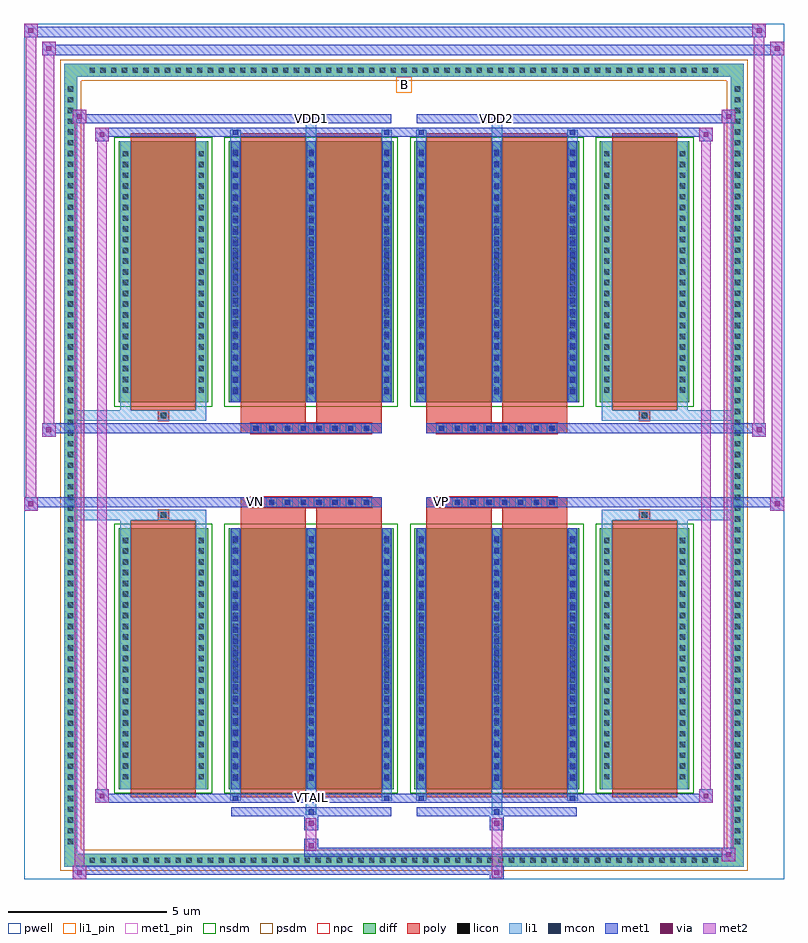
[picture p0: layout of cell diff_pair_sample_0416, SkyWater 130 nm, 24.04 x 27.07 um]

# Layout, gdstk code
import gdstk
lib = gdstk.Library(unit=1e-6, precision=5e-09)
def R(c, l, rs):  # rectangles x0, y0, x1, y1
    for r in rs: c.add(gdstk.rectangle(r[:2], r[2:], *l))
def A(c, l, x, y, w, h, nx, ny, dx, dy):  # array of equal rectangles
    R(c, l, [(x+i*dx, y+j*dy, x+i*dx+w, y+j*dy+h) for i in range(nx) for j in range(ny)])
def P(c, l, *ps):  # polygons
    for p in ps: c.add(gdstk.Polygon(p, *l))
pwell = (64, 44)
diff = (65, 20)
poly = (66, 20)
licon = (66, 44)
li1_pin = (67, 16)
li1 = (67, 20)
mcon = (67, 44)
met1_pin = (68, 16)
met1 = (68, 20)
via = (68, 44)
met2 = (69, 20)
nsdm = (93, 44)
psdm = (94, 20)
npc = (95, 20)

diff_pair_sample_0416 = lib.new_cell('diff_pair_sample_0416')
R(diff_pair_sample_0416, pwell, [(-12.02,-13.1,12.02,13.97), (-9.34,-11.29,-0.01,-0.805), (0.01,-11.29,9.34,-0.805), (-9.34,0.805,-0.01,11.29), (0.01,0.805,9.34,11.29)])
A(diff_pair_sample_0416, diff, -10.065, -12.7, 0.41, 0.41, 59, 2, 0.34, 24.99)
A(diff_pair_sample_0416, diff, -10.75, -12.105, 0.41, 0.41, 1, 71, 0, 0.34)
A(diff_pair_sample_0416, diff, 10.34, -12.105, 0.41, 0.41, 1, 71, 0, 0.34)
R(diff_pair_sample_0416, diff, [(-10.065,-12.7,10.065,-12.29), (-10.75,-12.105,-10.34,12.105), (10.34,-12.105,10.75,12.105), (-9.03,-10.245,-6.19,-1.985), (-5.55,-10.245,-0.32,-1.985), (0.32,-10.245,5.55,-1.985), (6.19,-10.245,9.03,-1.985), (-9.03,1.985,-6.19,10.245), (-5.55,1.985,-0.32,10.245), (0.32,1.985,5.55,10.245), (6.19,1.985,9.03,10.245), (-10.065,12.29,10.065,12.7)])
P(diff_pair_sample_0416, diff, [(10.75,12.7),(-10.75,12.7),(-10.75,-12.29),(-10.34,-12.29),(-10.34,12.29),(10.34,12.29),(10.34,-12.29),(-10.34,-12.29),(-10.75,-12.29),(-10.75,-12.7),(10.75,-12.7)])
A(diff_pair_sample_0416, poly, -4.85, -1.335, 0.33, 0.33, 8, 2, 0.5, 2.34)
A(diff_pair_sample_0416, poly, 1.02, -1.335, 0.33, 0.33, 8, 2, 0.5, 2.34)
R(diff_pair_sample_0416, poly, [(-8.64,-10.495,-6.58,-1.735), (-5.16,-10.495,-3.1,-1.735), (-2.77,-10.495,-0.71,-1.735), (0.71,-10.495,2.77,-1.735), (3.1,-10.495,5.16,-1.735), (6.58,-10.495,8.64,-1.735), (-7.775,-1.735,-7.445,-1.405), (-7.775,-1.735,-7.445,-1.405), (-5.16,-1.735,-3.1,-1.335), (-2.77,-1.735,-0.71,-1.335), (0.71,-1.735,2.77,-1.335), (3.1,-1.735,5.16,-1.335), (7.445,-1.735,7.775,-1.405), (7.445,-1.735,7.775,-1.405), (-5.16,-1.335,-0.71,-1.005), (0.71,-1.335,5.16,-1.005), (-5.16,1.005,-0.71,1.335), (0.71,1.005,5.16,1.335), (-5.16,1.335,-3.1,1.735), (-2.77,1.335,-0.71,1.735), (0.71,1.335,2.77,1.735), (3.1,1.335,5.16,1.735), (-7.775,1.405,-7.445,1.735), (-7.775,1.405,-7.445,1.735), (7.445,1.405,7.775,1.735), (7.445,1.405,7.775,1.735), (-8.64,1.735,-6.58,10.495), (-5.16,1.735,-3.1,10.495), (-2.77,1.735,-0.71,10.495), (0.71,1.735,2.77,10.495), (3.1,1.735,5.16,10.495), (6.58,1.735,8.64,10.495)])
A(diff_pair_sample_0416, licon, -9.945, -12.58, 0.17, 0.17, 59, 2, 0.34, 24.99)
A(diff_pair_sample_0416, licon, -10.63, -11.985, 0.17, 0.17, 1, 71, 0, 0.34)
A(diff_pair_sample_0416, licon, 10.46, -11.985, 0.17, 0.17, 1, 71, 0, 0.34)
A(diff_pair_sample_0416, licon, -8.89, -9.94, 0.17, 0.17, 1, 23, 0, 0.34)
A(diff_pair_sample_0416, licon, -6.5, -9.94, 0.17, 0.17, 1, 23, 0, 0.34)
A(diff_pair_sample_0416, licon, -5.41, -9.94, 0.17, 0.17, 3, 23, 2.39, 0.34)
A(diff_pair_sample_0416, licon, 0.46, -9.94, 0.17, 0.17, 3, 23, 2.39, 0.34)
A(diff_pair_sample_0416, licon, 6.33, -9.94, 0.17, 0.17, 1, 23, 0, 0.34)
A(diff_pair_sample_0416, licon, 8.72, -9.94, 0.17, 0.17, 1, 23, 0, 0.34)
A(diff_pair_sample_0416, licon, -4.77, -1.255, 0.17, 0.17, 8, 2, 0.5, 2.34)
A(diff_pair_sample_0416, licon, 1.1, -1.255, 0.17, 0.17, 8, 2, 0.5, 2.34)
A(diff_pair_sample_0416, licon, -8.89, 2.29, 0.17, 0.17, 1, 23, 0, 0.34)
A(diff_pair_sample_0416, licon, -6.5, 2.29, 0.17, 0.17, 1, 23, 0, 0.34)
A(diff_pair_sample_0416, licon, -5.41, 2.29, 0.17, 0.17, 3, 23, 2.39, 0.34)
A(diff_pair_sample_0416, licon, 0.46, 2.29, 0.17, 0.17, 3, 23, 2.39, 0.34)
A(diff_pair_sample_0416, licon, 6.33, 2.29, 0.17, 0.17, 1, 23, 0, 0.34)
A(diff_pair_sample_0416, licon, 8.72, 2.29, 0.17, 0.17, 1, 23, 0, 0.34)
R(diff_pair_sample_0416, licon, [(-7.695,-1.655,-7.525,-1.485), (7.525,-1.655,7.695,-1.485), (-7.695,1.485,-7.525,1.655), (7.525,1.485,7.695,1.655)])
R(diff_pair_sample_0416, li1_pin, [(-0.25,11.79,0.25,12.29)])
A(diff_pair_sample_0416, li1, -10.025, -12.66, 0.33, 0.33, 59, 2, 0.34, 24.99)
A(diff_pair_sample_0416, li1, -10.71, -12.065, 0.33, 0.33, 1, 71, 0, 0.34)
A(diff_pair_sample_0416, li1, 10.38, -12.065, 0.33, 0.33, 1, 71, 0, 0.34)
A(diff_pair_sample_0416, li1, -5.49, -10.245, 0.33, 8.26, 3, 2, 2.39, 12.23)
A(diff_pair_sample_0416, li1, 0.38, -10.245, 0.33, 8.26, 3, 2, 2.39, 12.23)
A(diff_pair_sample_0416, li1, -8.97, -10.02, 0.33, 0.33, 1, 23, 0, 0.34)
A(diff_pair_sample_0416, li1, -6.58, -10.02, 0.33, 0.33, 1, 23, 0, 0.34)
A(diff_pair_sample_0416, li1, -5.49, -10.02, 0.33, 0.33, 3, 23, 2.39, 0.34)
A(diff_pair_sample_0416, li1, 0.38, -10.02, 0.33, 0.33, 3, 23, 2.39, 0.34)
A(diff_pair_sample_0416, li1, 6.25, -10.02, 0.33, 0.33, 1, 23, 0, 0.34)
A(diff_pair_sample_0416, li1, 8.64, -10.02, 0.33, 0.33, 1, 23, 0, 0.34)
A(diff_pair_sample_0416, li1, -5.41, -9.98, 0.17, 0.17, 3, 22, 2.39, 0.36)
A(diff_pair_sample_0416, li1, -5.41, -9.98, 0.17, 7.73, 3, 2, 2.39, 12.23)
A(diff_pair_sample_0416, li1, 0.46, -9.98, 0.17, 0.17, 3, 22, 2.39, 0.36)
A(diff_pair_sample_0416, li1, 0.46, -9.98, 0.17, 7.73, 3, 2, 2.39, 12.23)
A(diff_pair_sample_0416, li1, -4.85, -1.335, 0.33, 0.33, 8, 2, 0.5, 2.34)
A(diff_pair_sample_0416, li1, 1.02, -1.335, 0.33, 0.33, 8, 2, 0.5, 2.34)
A(diff_pair_sample_0416, li1, -8.97, 2.21, 0.33, 0.33, 1, 23, 0, 0.34)
A(diff_pair_sample_0416, li1, -6.58, 2.21, 0.33, 0.33, 1, 23, 0, 0.34)
A(diff_pair_sample_0416, li1, -5.49, 2.21, 0.33, 0.33, 3, 23, 2.39, 0.34)
A(diff_pair_sample_0416, li1, 0.38, 2.21, 0.33, 0.33, 3, 23, 2.39, 0.34)
A(diff_pair_sample_0416, li1, 6.25, 2.21, 0.33, 0.33, 1, 23, 0, 0.34)
A(diff_pair_sample_0416, li1, 8.64, 2.21, 0.33, 0.33, 1, 23, 0, 0.34)
A(diff_pair_sample_0416, li1, -5.41, 2.25, 0.17, 0.17, 3, 22, 2.39, 0.36)
A(diff_pair_sample_0416, li1, 0.46, 2.25, 0.17, 0.17, 3, 22, 2.39, 0.36)
R(diff_pair_sample_0416, li1, [(-10.75,-12.7,-10.34,-12.29), (-10.75,-12.7,-10.34,-12.29), (-10.34,-12.7,10.34,-12.29), (10.34,-12.7,10.75,-12.29), (10.34,-12.7,10.75,-12.29), (-10.75,-12.29,-10.34,12.29), (10.34,-12.29,10.75,12.29), (-3.1,-11.05,-2.77,-10.245), (-3.02,-11.05,-2.85,-10.88), (2.77,-11.05,3.1,-10.245), (2.85,-11.05,3.02,-10.88), (-5.49,-10.62,-5.16,-10.245), (-5.41,-10.62,-5.24,-10.45), (-0.71,-10.62,-0.38,-10.245), (-0.63,-10.62,-0.46,-10.45), (0.38,-10.62,0.71,-10.245), (0.46,-10.62,0.63,-10.45), (5.16,-10.62,5.49,-10.245), (5.24,-10.62,5.41,-10.45), (-8.97,-10.245,-8.64,-1.985), (-6.58,-10.245,-6.25,-1.985), (6.25,-10.245,6.58,-1.985), (8.64,-10.245,8.97,-1.985), (-8.97,-1.985,-8.64,-1.405), (-6.58,-1.985,-6.25,-1.405), (6.25,-1.985,6.58,-1.405), (8.64,-1.985,8.97,-1.405), (-10.75,-1.735,-7.775,-1.405), (-8.97,-1.735,-7.775,-1.405), (-7.775,-1.735,-7.445,-1.405), (-7.445,-1.735,-6.25,-1.405), (6.25,-1.735,7.445,-1.405), (7.445,-1.735,7.775,-1.405), (7.445,-1.735,10.75,-1.405), (7.775,-1.735,8.97,-1.405), (-10.75,1.405,-7.775,1.735), (-8.97,1.405,-7.775,1.735), (-8.97,1.405,-8.64,1.985), (-7.775,1.405,-7.445,1.735), (-7.445,1.405,-6.25,1.735), (-6.58,1.405,-6.25,1.985), (6.25,1.405,7.445,1.735), (6.25,1.405,6.58,1.985), (7.445,1.405,7.775,1.735), (7.445,1.405,10.75,1.735), (7.775,1.405,8.97,1.735), (8.64,1.405,8.97,1.985), (-8.97,1.985,-8.64,10.245), (-6.58,1.985,-6.25,10.245), (6.25,1.985,6.58,10.245), (8.64,1.985,8.97,10.245), (-5.49,10.245,-5.16,10.62), (-3.1,10.245,-2.77,11.05), (-0.71,10.245,-0.38,10.62), (0.38,10.245,0.71,10.62), (2.77,10.245,3.1,11.05), (5.16,10.245,5.49,10.62), (-5.41,10.45,-5.24,10.62), (-0.63,10.45,-0.46,10.62), (0.46,10.45,0.63,10.62), (5.24,10.45,5.41,10.62), (-3.02,10.88,-2.85,11.05), (2.85,10.88,3.02,11.05), (-10.75,12.29,-10.34,12.7), (-10.75,12.29,-10.34,12.7), (-10.34,12.29,10.34,12.7), (10.34,12.29,10.75,12.7), (10.34,12.29,10.75,12.7)])
A(diff_pair_sample_0416, mcon, -5.41, -9.98, 0.17, 0.17, 3, 22, 2.39, 0.36)
A(diff_pair_sample_0416, mcon, 0.46, -9.98, 0.17, 0.17, 3, 22, 2.39, 0.36)
A(diff_pair_sample_0416, mcon, -4.77, -1.255, 0.17, 0.17, 8, 2, 0.5, 2.34)
A(diff_pair_sample_0416, mcon, 1.1, -1.255, 0.17, 0.17, 8, 2, 0.5, 2.34)
A(diff_pair_sample_0416, mcon, -5.41, 2.25, 0.17, 0.17, 3, 22, 2.39, 0.36)
A(diff_pair_sample_0416, mcon, 0.46, 2.25, 0.17, 0.17, 3, 22, 2.39, 0.36)
R(diff_pair_sample_0416, mcon, [(-3.02,-11.05,-2.85,-10.88), (2.85,-11.05,3.02,-10.88), (-5.41,-10.62,-5.24,-10.45), (-0.63,-10.62,-0.46,-10.45), (0.46,-10.62,0.63,-10.45), (5.24,-10.62,5.41,-10.45), (-5.41,10.45,-5.24,10.62), (-0.63,10.45,-0.46,10.62), (0.46,10.45,0.63,10.62), (5.24,10.45,5.41,10.62), (-3.02,10.88,-2.85,11.05), (2.85,10.88,3.02,11.05)])
R(diff_pair_sample_0416, met1_pin, [(-3.07,-10.66,-2.8,-10.39), (-4.82,-1.295,-4.55,-1.025), (1.05,-1.295,1.32,-1.025), (-3.07,10.84,-2.8,11.11), (2.8,10.84,3.07,11.11)])
A(diff_pair_sample_0416, met1, -5.47, -10.245, 0.29, 8.26, 3, 2, 2.39, 12.23)
A(diff_pair_sample_0416, met1, 0.4, -10.245, 0.29, 8.26, 3, 2, 2.39, 12.23)
A(diff_pair_sample_0416, met1, -5.47, -10.04, 0.29, 0.29, 3, 22, 2.39, 0.36)
A(diff_pair_sample_0416, met1, 0.4, -10.04, 0.29, 0.29, 3, 22, 2.39, 0.36)
A(diff_pair_sample_0416, met1, -4.83, -1.315, 0.29, 0.29, 8, 2, 0.5, 2.34)
A(diff_pair_sample_0416, met1, 1.04, -1.315, 0.29, 0.29, 8, 2, 0.5, 2.34)
A(diff_pair_sample_0416, met1, -5.47, 2.19, 0.29, 0.29, 3, 22, 2.39, 0.36)
A(diff_pair_sample_0416, met1, 0.4, 2.19, 0.29, 0.29, 3, 22, 2.39, 0.36)
R(diff_pair_sample_0416, met1, [(-10.48,-13.1,-10.05,-12.67), (2.72,-13.1,3.15,-12.67), (-10.48,-12.96,3.15,-12.67), (10.05,-12.53,10.48,-12.1), (-3.15,-12.39,10.48,-12.1), (-3.15,-12.25,-2.72,-11.82), (-3.15,-11.54,-2.72,-11.11), (2.72,-11.54,3.15,-11.11), (-5.47,-11.11,-0.4,-10.82), (-3.08,-11.11,-2.79,-10.82), (0.4,-11.11,5.47,-10.82), (2.79,-11.11,3.08,-10.82), (-9.77,-10.68,-9.34,-10.25), (-9.77,-10.68,-5.47,-10.39), (-5.47,-10.68,-5.18,-10.39), (-5.47,-10.68,-0.4,-10.39), (-0.69,-10.68,-0.4,-10.39), (-0.4,-10.68,0.4,-10.39), (0.4,-10.68,0.69,-10.39), (0.4,-10.68,5.47,-10.39), (5.18,-10.68,5.47,-10.39), (5.47,-10.68,9.77,-10.39), (9.34,-10.68,9.77,-10.25), (-12.02,-1.435,-11.59,-1.005), (11.59,-1.435,12.02,-1.005), (-12.02,-1.335,-0.71,-1.005), (-5.16,-1.335,-0.71,-1.005), (0.71,-1.335,5.16,-1.005), (0.71,-1.335,12.02,-1.005), (-11.45,0.905,-11.02,1.335), (11.02,0.905,11.45,1.335), (-11.45,1.005,-5.16,1.335), (-5.16,1.005,-0.71,1.335), (0.71,1.005,5.16,1.335), (5.16,1.005,11.45,1.335), (-9.77,10.25,-9.34,10.68), (9.34,10.25,9.77,10.68), (-9.77,10.39,-5.47,10.68), (-5.47,10.39,-5.18,10.68), (-5.47,10.39,-0.4,10.68), (-0.69,10.39,-0.4,10.68), (-0.4,10.39,0.4,10.68), (0.4,10.39,0.69,10.68), (0.4,10.39,5.47,10.68), (5.18,10.39,5.47,10.68), (5.47,10.39,9.77,10.68), (-10.48,10.82,-10.05,11.25), (-10.48,10.82,-5.47,11.11), (-5.47,10.82,-0.4,11.11), (-3.08,10.82,-2.79,11.11), (0.4,10.82,5.47,11.11), (2.79,10.82,3.08,11.11), (5.47,10.82,10.48,11.11), (10.05,10.82,10.48,11.25), (-11.45,12.97,-11.02,13.4), (-11.45,12.97,-9.34,13.3), (-9.34,12.97,9.34,13.3), (9.34,12.97,12.02,13.3), (11.59,12.97,12.02,13.4), (-12.02,13.54,-11.59,13.97), (-12.02,13.54,-9.34,13.87), (-9.34,13.54,9.34,13.87), (9.34,13.54,11.45,13.87), (11.02,13.54,11.45,13.97)])
R(diff_pair_sample_0416, via, [(-10.34,-12.96,-10.19,-12.81), (2.86,-12.96,3.01,-12.81), (10.19,-12.39,10.34,-12.24), (-3.01,-12.11,-2.86,-11.96), (-3.01,-11.4,-2.86,-11.25), (2.86,-11.4,3.01,-11.25), (-9.63,-10.54,-9.48,-10.39), (9.48,-10.54,9.63,-10.39), (-11.88,-1.295,-11.73,-1.145), (11.73,-1.295,11.88,-1.145), (-11.31,1.045,-11.16,1.195), (11.16,1.045,11.31,1.195), (-9.63,10.39,-9.48,10.54), (9.48,10.39,9.63,10.54), (-10.34,10.96,-10.19,11.11), (10.19,10.96,10.34,11.11), (-11.31,13.11,-11.16,13.26), (11.73,13.11,11.88,13.26), (-11.88,13.68,-11.73,13.83), (11.16,13.68,11.31,13.83)])
R(diff_pair_sample_0416, met2, [(-10.48,-13.1,-10.05,-12.67), (-10.41,-13.1,-10.12,11.25), (-10.12,-13.1,-10.05,-12.67), (-10.43,-13.05,-10.1,-12.72), (2.77,-13.05,3.1,-12.72), (2.77,-12.72,3.1,-11.49), (10.05,-12.53,10.48,-12.1), (10.12,-12.53,10.41,11.25), (10.41,-12.53,10.48,-12.1), (10.1,-12.48,10.43,-12.15), (-3.1,-12.2,-2.77,-11.87), (-3.1,-11.87,-2.77,-11.49), (-3.1,-11.49,-2.77,-11.16), (2.77,-11.49,3.1,-11.16), (-9.77,-10.68,-9.34,-10.25), (-9.7,-10.68,-9.41,10.68), (-9.41,-10.68,-9.34,-10.25), (9.34,-10.68,9.77,-10.25), (9.41,-10.68,9.7,10.68), (9.7,-10.68,9.77,-10.25), (-9.72,-10.63,-9.39,-10.3), (9.39,-10.63,9.72,-10.3), (-12.02,-1.435,-11.59,-1.005), (-11.97,-1.435,-11.64,13.97), (-11.64,-1.435,-11.59,-1.005), (11.59,-1.435,12.02,-1.005), (11.64,-1.435,11.97,13.4), (11.97,-1.435,12.02,-1.005), (-11.97,-1.385,-11.64,-1.055), (11.64,-1.385,11.97,-1.055), (-11.45,0.905,-11.02,1.335), (-11.4,0.905,-11.07,13.4), (-11.07,0.905,-11.02,1.335), (11.02,0.905,11.45,1.335), (11.07,0.905,11.4,13.97), (11.4,0.905,11.45,1.335), (-11.4,0.955,-11.07,1.285), (11.07,0.955,11.4,1.285), (-9.77,10.25,-9.34,10.68), (-9.41,10.25,-9.34,10.68), (9.34,10.25,9.77,10.68), (9.7,10.25,9.77,10.68), (-9.72,10.3,-9.39,10.63), (9.39,10.3,9.72,10.63), (-10.48,10.82,-10.05,11.25), (-10.12,10.82,-10.05,11.25), (10.05,10.82,10.48,11.25), (10.41,10.82,10.48,11.25), (-10.43,10.87,-10.1,11.2), (10.1,10.87,10.43,11.2), (-11.45,12.97,-11.02,13.4), (-11.07,12.97,-11.02,13.4), (11.59,12.97,12.02,13.4), (11.97,12.97,12.02,13.4), (-11.4,13.02,-11.07,13.35), (11.64,13.02,11.97,13.35), (-12.02,13.54,-11.59,13.97), (-11.64,13.54,-11.59,13.97), (11.02,13.54,11.45,13.97), (11.4,13.54,11.45,13.97), (-11.97,13.59,-11.64,13.92), (11.07,13.59,11.4,13.92)])
R(diff_pair_sample_0416, nsdm, [(-9.16,-10.375,-6.06,-1.855), (-5.68,-10.375,-0.19,-1.855), (0.19,-10.375,5.68,-1.855), (6.06,-10.375,9.16,-1.855), (-9.16,1.855,-6.06,10.375), (-5.68,1.855,-0.19,10.375), (0.19,1.855,5.68,10.375), (6.06,1.855,9.16,10.375)])
P(diff_pair_sample_0416, psdm, [(10.88,12.83),(-10.88,12.83),(-10.88,-12.16),(-10.21,-12.16),(-10.21,12.16),(10.21,12.16),(10.21,-12.16),(-10.21,-12.16),(-10.88,-12.16),(-10.88,-12.83),(10.88,-12.83)])
A(diff_pair_sample_0416, npc, -4.87, -1.355, 0.37, 0.37, 8, 2, 0.5, 2.34)
A(diff_pair_sample_0416, npc, 1, -1.355, 0.37, 0.37, 8, 2, 0.5, 2.34)
R(diff_pair_sample_0416, npc, [(-7.795,-1.755,-7.425,-1.385), (7.425,-1.755,7.795,-1.385), (-4.87,-1.355,-4,-0.985), (-4.87,-1.355,-4,-0.985), (-4.37,-1.355,-3.5,-0.985), (-4.37,-1.355,-3.5,-0.985), (-3.87,-1.355,-3,-0.985), (-3.87,-1.355,-3,-0.985), (-3.37,-1.355,-2.5,-0.985), (-3.37,-1.355,-2.5,-0.985), (-2.87,-1.355,-2,-0.985), (-2.87,-1.355,-2,-0.985), (-2.37,-1.355,-1.5,-0.985), (-2.37,-1.355,-1.5,-0.985), (-1.87,-1.355,-1,-0.985), (-1.87,-1.355,-1,-0.985), (1,-1.355,1.87,-0.985), (1,-1.355,1.87,-0.985), (1.5,-1.355,2.37,-0.985), (1.5,-1.355,2.37,-0.985), (2,-1.355,2.87,-0.985), (2,-1.355,2.87,-0.985), (2.5,-1.355,3.37,-0.985), (2.5,-1.355,3.37,-0.985), (3,-1.355,3.87,-0.985), (3,-1.355,3.87,-0.985), (3.5,-1.355,4.37,-0.985), (3.5,-1.355,4.37,-0.985), (4,-1.355,4.87,-0.985), (4,-1.355,4.87,-0.985), (-4.87,0.985,-4,1.355), (-4.87,0.985,-4,1.355), (-4.37,0.985,-3.5,1.355), (-4.37,0.985,-3.5,1.355), (-3.87,0.985,-3,1.355), (-3.87,0.985,-3,1.355), (-3.37,0.985,-2.5,1.355), (-3.37,0.985,-2.5,1.355), (-2.87,0.985,-2,1.355), (-2.87,0.985,-2,1.355), (-2.37,0.985,-1.5,1.355), (-2.37,0.985,-1.5,1.355), (-1.87,0.985,-1,1.355), (-1.87,0.985,-1,1.355), (1,0.985,1.87,1.355), (1,0.985,1.87,1.355), (1.5,0.985,2.37,1.355), (1.5,0.985,2.37,1.355), (2,0.985,2.87,1.355), (2,0.985,2.87,1.355), (2.5,0.985,3.37,1.355), (2.5,0.985,3.37,1.355), (3,0.985,3.87,1.355), (3,0.985,3.87,1.355), (3.5,0.985,4.37,1.355), (3.5,0.985,4.37,1.355), (4,0.985,4.87,1.355), (4,0.985,4.87,1.355), (-7.795,1.385,-7.425,1.755), (7.425,1.385,7.795,1.755)])
diff_pair_sample_0416.add(gdstk.Label('VTAIL', (-2.935,-10.525), layer=68, texttype=5))
diff_pair_sample_0416.add(gdstk.Label('VN', (-4.685,-1.16), layer=68, texttype=5))
diff_pair_sample_0416.add(gdstk.Label('VP', (1.185,-1.16), layer=68, texttype=5))
diff_pair_sample_0416.add(gdstk.Label('B', (0,12.04), layer=67, texttype=5))
diff_pair_sample_0416.add(gdstk.Label('VDD2', (2.935,10.975), layer=68, texttype=5))
diff_pair_sample_0416.add(gdstk.Label('VDD1', (-2.935,10.975), layer=68, texttype=5))

lib.write_gds('diff_pair_sample_0416.gds')
